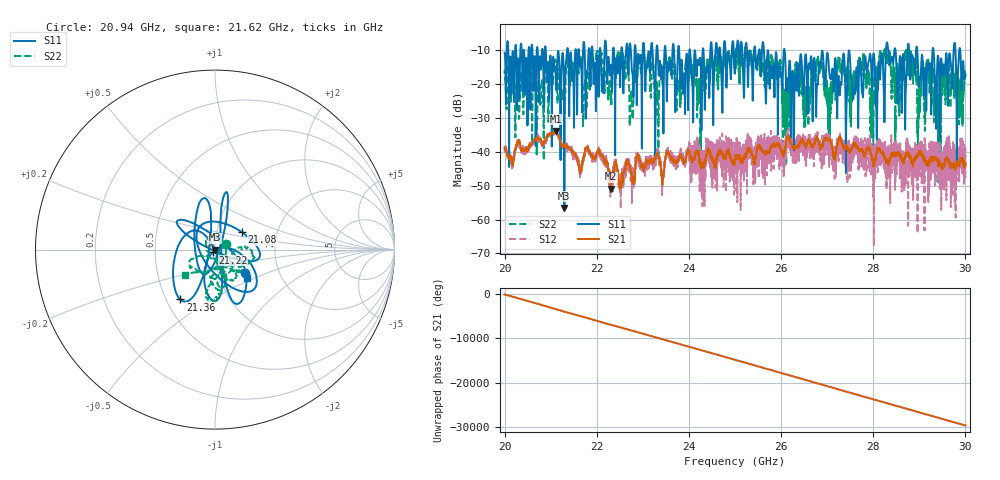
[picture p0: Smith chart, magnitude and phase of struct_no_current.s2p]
#  HZ  S  RI  R  50.00
! Rohde & Schwarz ZVA40 4Ports - Version 3.90 - 1145.1110k42 SN: 100403
! Date: 2023-09-21 06:47:59
! Measurements: S11 S21 S12 S22
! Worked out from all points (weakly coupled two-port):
!   5000 points, 20 GHz to 30 GHz, reference 50 ohm
!   highest |S21| = -33.84 dB at 21.11 GHz (marker M1); lowest = -50.9 dB at 22.31 GHz (marker M2)
!   lowest |S11| = -56.6 dB at 21.3 GHz (marker M3), VSWR 1.00, Z = 50.1 - j0.122 ohm
!   |S11| at or under -10 dB: 20.89 GHz to 21.36 GHz (462.3 MHz wide, 2.19 % of centre); 26.08 GHz to 28.28 GHz (2.2 GHz wide, 8.09 % of centre); 29.31 GHz to 29.75 GHz (436.1 MHz wide, 1.48 % of centre)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
!   |S22| runs from -49.4 to -9.0 dB; largest |S21 - S12| = 0.015
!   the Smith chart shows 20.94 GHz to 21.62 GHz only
!   S11 on the Smith chart (normalised r, x): 20.94 GHz: 1.35, -0.37; 21.08 GHz: 1.33, +0.26; 21.22 GHz: 0.98, -0.03; 21.36 GHz: 0.59, -0.37; 21.62 GHz: 1.35, -0.45
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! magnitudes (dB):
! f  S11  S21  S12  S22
! 20 GHz  -10.8  -38.6  -38.7  -15.7
! 20.94 GHz  -13.5  -35.0  -35.4  -23.4
! 21.08 GHz  -14.9  -34.2  -33.8  -14.2
! 21.11 GHz  -16.5  -33.8  -34.0  -13.5
! 21.22 GHz  -34.0  -37.1  -37.0  -19.0
! 21.3 GHz  -56.6  -38.3  -37.7  -25.4
! 21.36 GHz  -9.4  -38.3  -38.1  -13.3
! 21.62 GHz  -12.5  -44.9  -44.1  -13.2
! 21.67 GHz  -15.2  -45.3  -44.6  -15.1
! 22.31 GHz  -14.6  -50.9  -50.4  -25.1
! 23.33 GHz  -14.6  -40.4  -41.1  -34.4
! 25 GHz  -15.9  -42.3  -42.4  -16.3
! 25.97 GHz  -14.4  -38.0  -40.3  -14.0
! 26.09 GHz  -11.6  -39.1  -44.0  -25.4
! 26.67 GHz  -14.5  -38.2  -38.4  -15.4
! 27.04 GHz  -15.4  -36.2  -36.6  -29.9
! 27.78 GHz  -24.0  -40.1  -36.9  -12.9
! 27.97 GHz  -21.7  -41.5  -42.6  -27.0
! 28.33 GHz  -12.2  -43.0  -41.6  -10.9
! 29.23 GHz  -13.8  -42.7  -41.5  -21.5
! 29.44 GHz  -23.9  -43.3  -43.2  -26.6
! 30 GHz  -17.5  -43.9  -38.6  -17.8
